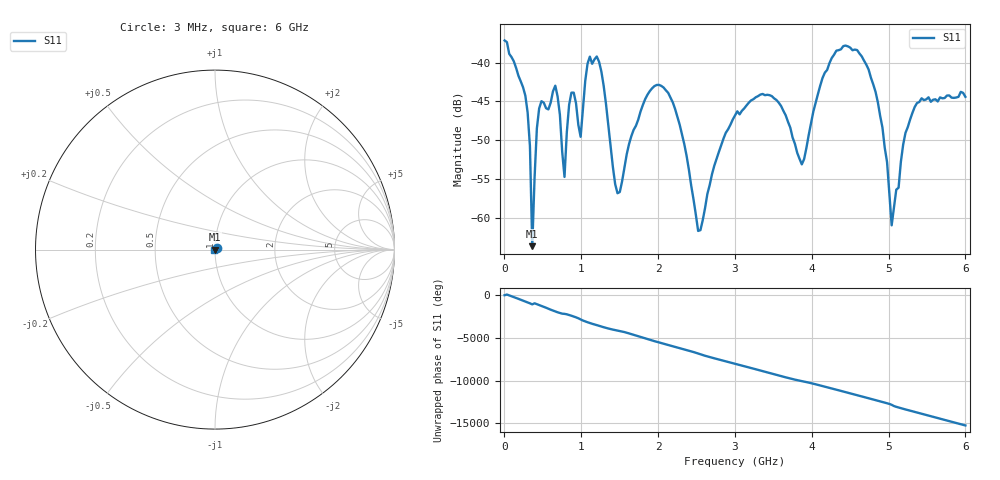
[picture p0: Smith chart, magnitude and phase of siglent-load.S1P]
! C:\data\Siglent F603FE cal kit tests\avg 16 100hz ifbw\siglent load.S1P
! Touchstone 1.1 file saved by VNA.EXE V1.60 (www.ke5fx.com/gpib/readme.htm)
! 26/07/2020 12:29:16 p.m.
!  Source: HEWLETT PACKARD,8753C,0,4.12
!  Min freq: 3.000000E+006 Hz
!  Max freq: 6.000000E+009 Hz
!  Points: 201
!  Params: S11
# GHZ S DB R 50
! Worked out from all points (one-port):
!   201 points, 3 MHz to 6 GHz, reference 50 ohm
!   lowest |S11| = -63.6 dB at 362.8 MHz (marker M1), VSWR 1.00, Z = 50.1 + j0.0361 ohm
!   |S11| at or under -10 dB: start of sweep to end of sweep
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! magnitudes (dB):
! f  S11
! 3 MHz  -37.1
! 302.9 MHz  -46.4
! 332.8 MHz  -50.8
! 362.8 MHz  -63.6
! 422.8 MHz  -48.5
! 452.8 MHz  -45.9
! 662.7 MHz  -43.0
! 752.6 MHz  -51.5
! 782.6 MHz  -54.7
! 872.6 MHz  -43.9
! 992.5 MHz  -49.6
! 1.082 GHz  -40.1
! 1.202 GHz  -39.2
! 1.502 GHz  -56.7
! 1.892 GHz  -43.7
! 2.252 GHz  -47.0
! 2.522 GHz  -61.7
! 3.002 GHz  -46.8
! 3.451 GHz  -44.2
! 3.751 GHz  -49.7
! 3.871 GHz  -53.1
! 4.141 GHz  -42.0
! 4.501 GHz  -38.1
! 4.831 GHz  -43.8
! 4.981 GHz  -52.8
! 5.04 GHz  -61.0
! 5.25 GHz  -48.3
! 6 GHz  -44.4
